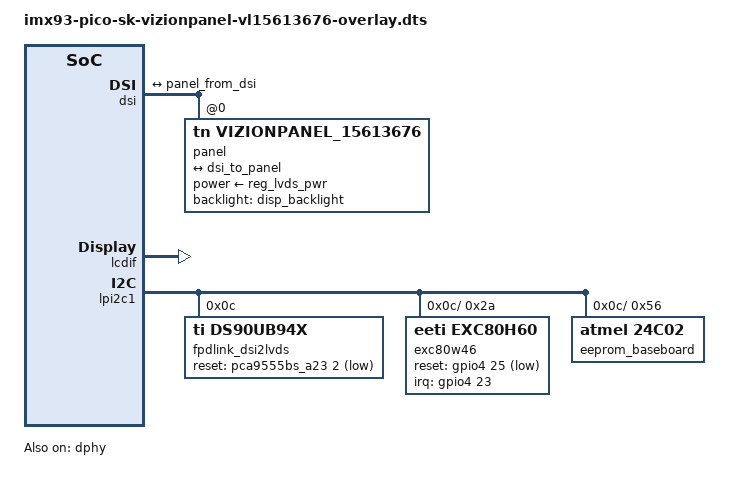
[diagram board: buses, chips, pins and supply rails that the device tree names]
// SPDX-License-Identifier: (GPL-2.0+ OR MIT)
/*
 * Copyright 2020 TechNexion Ltd.
 *
 * Author: Richard Hu <richard.hu@technexion.com>
 *
 */

/dts-v1/;
/plugin/;

#include <dt-bindings/interrupt-controller/irq.h>
#include <dt-bindings/gpio/gpio.h>

/ {
	fragment@0 {
		target-path = "/";
		__overlay__ {
			reg_lvds_pwr: regulator_lvdspwr {
				status = "okay";
			};
		};
	};

	fragment@1 {
		target-path = "/";
		__overlay__ {
			reg_mipi_backlight_pwr: regulator_mipiblpwr {
				status = "okay";
			};
		};
	};

	fragment@2 {
		target-path = "/";
		__overlay__ {
			disp_backlight: disp_backlight {
				status = "okay";
			};
		};
	};

	fragment@3 {
		target = <&dphy>;
		__overlay__ {
			status = "okay";
		};
	};

	fragment@4 {
		target = <&dsi>;
		__overlay__ {
			status = "okay";
			#address-cells = <1>;
			#size-cells = <0>;

			panel@0 {
				compatible = "tn,vizionpanel_15613676";
				reg = <0>;
				backlight = <&disp_backlight>;
				power-supply = <&reg_lvds_pwr>;

				dsi,flags = <0x0003>;
				bus-flags = <1>;

				port {
					panel_from_dsi: endpoint {
						remote-endpoint = <&dsi_to_panel>;
					};
				};
			};

			ports {
				#address-cells = <1>;
				#size-cells = <0>;
				port@1 {
					reg = <1>;

					dsi_to_panel: endpoint {
						remote-endpoint = <&panel_from_dsi>;
					};
				};
			};
		};
	};

	fragment@5 {
		target = <&lcdif>;
		__overlay__ {
			status = "okay";
			assigned-clock-rates = <445333333>, <148444444>, <400000000>, <133333333>;
		};
	};

	fragment@6 {
		target = <&lpi2c1>;
		__overlay__ {
			#address-cells = <1>;
			#size-cells = <0>;
			status = "okay";

			fpdlink_dsi2lvds: ds90ub948@c {
				compatible = "ti,ds90ub94x";
				reg = <0x0c>;
				status = "okay";
				reset-gpios = <&pca9555bs_a23 2 GPIO_ACTIVE_LOW>;
				vizionpanel-remote-gpio;
				dsi-delay = <2500>;
				i2c-alias-pool = <0x48 0x49 0x4a 0x4b 0x4c 0x4d 0x4e 0x4f>;

				i2c {
					#address-cells = <1>;
					#size-cells = <0>;

					exc80w46: touchscreen@2a {
						compatible = "eeti,exc80h60";
						pinctrl-names = "touch_reset", "mipi_touch";
						pinctrl-0 = <&pinctrl_touch>;
						pinctrl-1 = <&pinctrl_mipi_touch_irq>;
						reg = <0x2a>;
						interrupt-parent = <&gpio4>;
						interrupts = <23 IRQ_TYPE_LEVEL_LOW>;
						reset-gpios = <&gpio4 25 GPIO_ACTIVE_LOW>;
						status = "okay";
					};

					eeprom_baseboard: eeprom@56 {
						compatible = "atmel,24c02";
						reg = <0x56>;
						pagesize = <16>;
						status = "okay";
					};
				};
			};
		};
	};
};
